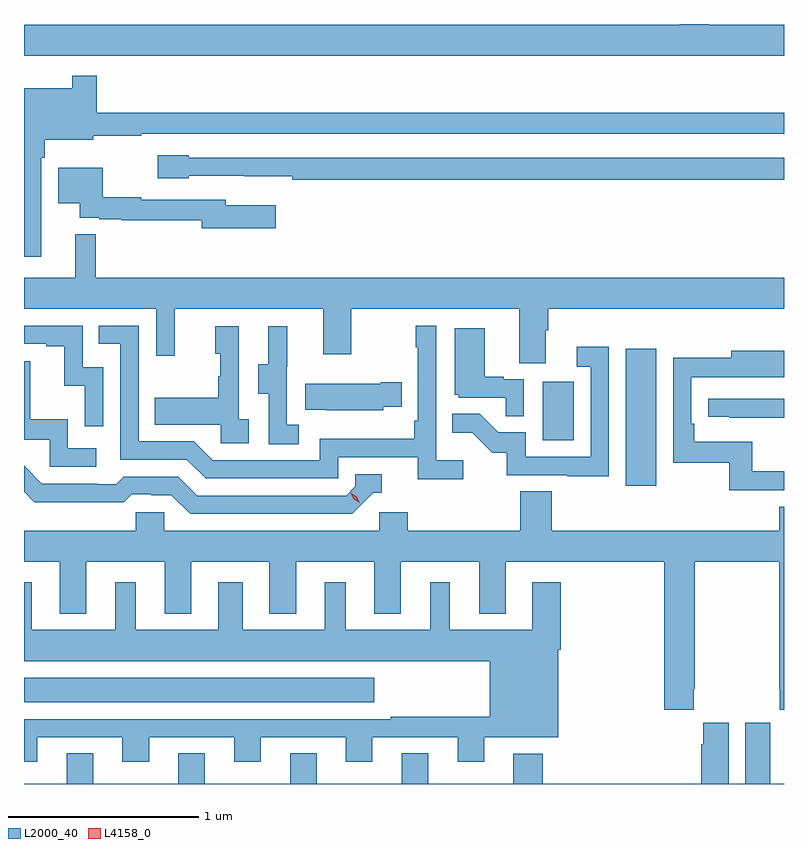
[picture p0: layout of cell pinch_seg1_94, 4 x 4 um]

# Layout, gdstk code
import gdstk
lib = gdstk.Library(unit=1e-6, precision=1e-09)
def R(c, l, rs):  # rectangles x0, y0, x1, y1
    for r in rs: c.add(gdstk.rectangle(r[:2], r[2:], *l))
def P(c, l, *ps):  # polygons
    for p in ps: c.add(gdstk.Polygon(p, *l))
L2000_40 = (2000, 40)
L4158_0 = (4158, 0)

pinch_seg1_94 = lib.new_cell('pinch_seg1_94')
R(pinch_seg1_94, L2000_40, [(1040.865,543.002,1042.708,543.13), (1044.032,544.14,1044.193,544.861), (1043.594,544.38,1043.758,544.687)])
P(pinch_seg1_94, L2000_40, [(1044.865,546.568),(1044.469,546.568),(1044.469,546.571),(1044.317,546.571),(1044.317,546.568),(1040.865,546.568),(1040.865,546.404),(1044.865,546.404)],
  [(1040.955,545.867),(1040.975,545.867),(1040.975,545.963),(1041.229,545.963),(1041.229,545.982),(1041.482,545.982),(1041.482,545.994),(1044.865,545.994),(1044.865,546.103),(1041.248,546.103),(1041.248,546.298),(1041.12,546.298),(1041.12,546.232),(1040.865,546.232),(1040.865,545.346),(1040.955,545.346)],
  [(1044.865,545.868),(1041.732,545.868),(1041.732,545.881),(1041.57,545.881),(1041.57,545.759),(1041.732,545.759),(1041.732,545.772),(1042.024,545.772),(1042.024,545.771),(1042.276,545.771),(1042.276,545.752),(1044.865,545.752)],
  [(1042.189,545.617),(1041.928,545.617),(1041.928,545.646),(1041.482,545.646),(1041.482,545.659),(1041.28,545.659),(1041.28,545.815),(1041.044,545.815),(1041.044,545.627),(1041.158,545.627),(1041.158,545.55),(1041.262,545.55),(1041.262,545.544),(1041.376,545.544),(1041.376,545.538),(1041.8,545.538),(1041.8,545.495),(1042.189,545.495)],
  [(1041.242,545.465),(1041.134,545.465),(1041.134,545.236),(1040.865,545.236),(1040.865,545.072),(1041.561,545.072),(1041.561,544.824),(1041.659,544.824),(1041.659,545.072),(1042.439,545.072),(1042.439,544.833),(1042.587,544.833),(1042.587,545.072),(1043.471,545.072),(1043.471,544.786),(1043.611,544.786),(1043.611,544.96),(1043.624,544.96),(1043.624,545.072),(1044.865,545.072),(1044.865,545.236),(1041.242,545.236)],
  [(1043.176,544.276),(1043.034,544.276),(1043.034,544.984),(1042.926,544.984),(1042.926,544.871),(1042.938,544.871),(1042.938,544.483),(1042.918,544.483),(1042.918,544.387),(1042.422,544.387),(1042.422,544.275),(1041.858,544.275),(1041.759,544.374),(1041.468,544.374),(1041.468,544.983),(1041.259,544.983),(1041.259,544.887),(1041.372,544.887),(1041.372,544.278),(1041.722,544.278),(1041.821,544.179),(1042.518,544.179),(1042.518,544.29),(1042.937,544.29),(1042.937,544.174),(1043.176,544.174)],
  [(1041.282,544.764),(1041.174,544.764),(1041.174,544.983),(1040.865,544.983),(1040.865,544.887),(1040.981,544.887),(1040.981,544.875),(1041.077,544.875),(1041.077,544.667),(1041.186,544.667),(1041.186,544.455),(1041.282,544.455)],
  [(1042.048,544.49),(1041.996,544.49),(1041.996,544.981),(1041.872,544.981),(1041.872,544.836),(1041.898,544.836),(1041.898,544.718),(1041.888,544.718),(1041.888,544.603),(1041.553,544.603),(1041.553,544.463),(1041.9,544.463),(1041.9,544.365),(1042.048,544.365)],
  [(1042.312,544.463),(1042.248,544.463),(1042.248,544.767),(1042.25,544.767),(1042.25,544.981),(1042.151,544.981),(1042.151,544.779),(1042.097,544.779),(1042.097,544.624),(1042.152,544.624),(1042.152,544.36),(1042.312,544.36)],
  [(1043.496,544.701),(1043.39,544.701),(1043.39,544.714),(1043.29,544.714),(1043.29,544.969),(1043.132,544.969),(1043.132,544.62),(1043.154,544.62),(1043.154,544.605),(1043.401,544.605),(1043.401,544.507),(1043.496,544.507)],
  [(1043.943,544.873),(1043.775,544.873),(1043.775,544.767),(1043.847,544.767),(1043.847,544.293),(1043.505,544.293),(1043.505,544.422),(1043.361,544.422),(1043.263,544.52),(1043.119,544.52),(1043.119,544.421),(1043.223,544.421),(1043.33,544.314),(1043.407,544.314),(1043.407,544.197),(1043.725,544.197),(1043.725,544.192),(1043.943,544.192)],
  [(1044.865,544.217),(1044.697,544.217),(1044.697,544.372),(1044.392,544.372),(1044.392,544.468),(1044.378,544.468),(1044.378,544.713),(1044.691,544.713),(1044.691,544.712),(1044.865,544.712),(1044.865,544.852),(1044.587,544.852),(1044.587,544.814),(1044.282,544.814),(1044.282,544.263),(1044.576,544.263),(1044.576,544.116),(1044.865,544.116)],
  [(1041.244,544.338),(1041.096,544.338),(1041.096,544.492),(1040.897,544.492),(1040.897,544.795),(1040.865,544.795),(1040.865,544.383),(1041,544.383),(1041,544.242),(1041.244,544.242)],
  [(1042.755,544.556),(1042.853,544.556),(1042.853,544.686),(1042.742,544.686),(1042.742,544.678),(1042.345,544.678),(1042.345,544.541),(1042.453,544.541),(1042.453,544.538),(1042.755,544.538)],
  [(1044.865,544.599),(1044.465,544.599),(1044.465,544.503),(1044.577,544.503),(1044.577,544.498),(1044.865,544.498)],
  [(1042.704,544.104),(1042.747,544.104),(1042.747,544.2),(1042.608,544.2),(1042.608,544.137),(1042.56,544.089),(1041.777,544.089),(1041.678,544.188),(1041.389,544.188),(1041.35,544.149),(1041.251,544.149),(1041.251,544.152),(1040.958,544.152),(1040.865,544.245),(1040.865,544.11),(1040.92,544.055),(1041.156,544.055),(1041.156,544.053),(1041.389,544.053),(1041.431,544.095),(1041.534,544.095),(1041.534,544.092),(1041.641,544.092),(1041.74,543.993),(1042.593,543.993)],
  [(1044.389,543.073),(1044.396,543.073),(1044.396,543.74),(1044.841,543.74),(1044.841,543.073),(1044.843,543.073),(1044.843,542.961),(1044.865,542.961),(1044.865,544.031),(1044.841,544.031),(1044.841,543.904),(1043.642,543.904),(1043.642,544.112),(1043.477,544.112),(1043.477,543.904),(1042.886,543.904),(1042.886,544.002),(1042.734,544.002),(1042.734,543.904),(1041.603,543.904),(1041.603,544.002),(1041.453,544.002),(1041.453,543.904),(1040.865,543.904),(1040.865,543.74),(1041.053,543.74),(1041.053,543.467),(1041.193,543.467),(1041.193,543.74),(1041.605,543.74),(1041.605,543.467),(1041.745,543.467),(1041.745,543.74),(1042.157,543.74),(1042.157,543.467),(1042.297,543.467),(1042.297,543.74),(1042.709,543.74),(1042.709,543.467),(1042.849,543.467),(1042.849,543.74),(1043.261,543.74),(1043.261,543.467),(1043.401,543.467),(1043.401,543.74),(1044.236,543.74),(1044.236,542.961),(1044.389,542.961)],
  [(1040.935,542.817),(1041.383,542.817),(1041.383,542.688),(1041.523,542.688),(1041.523,542.817),(1041.971,542.817),(1041.971,542.688),(1042.111,542.688),(1042.111,542.817),(1042.559,542.817),(1042.559,542.688),(1042.699,542.688),(1042.699,542.817),(1043.147,542.817),(1043.147,542.688),(1043.287,542.688),(1043.287,542.816),(1043.677,542.816),(1043.677,543.278),(1043.69,543.278),(1043.69,543.634),(1043.54,543.634),(1043.54,543.382),(1043.107,543.382),(1043.107,543.634),(1043.003,543.634),(1043.003,543.382),(1042.558,543.382),(1042.558,543.634),(1042.448,543.634),(1042.448,543.382),(1042.015,543.382),(1042.015,543.634),(1041.887,543.634),(1041.887,543.382),(1041.454,543.382),(1041.454,543.634),(1041.344,543.634),(1041.344,543.382),(1040.905,543.382),(1040.905,543.634),(1040.865,543.634),(1040.865,543.218),(1043.315,543.218),(1043.315,542.926),(1042.795,542.926),(1042.795,542.913),(1040.865,542.913),(1040.865,542.688),(1040.935,542.688)],
  [(1044.865,542.572),(1044.793,542.572),(1044.793,542.78),(1044.792,542.78),(1044.792,542.893),(1044.662,542.893),(1044.662,542.572),(1044.574,542.572),(1044.574,542.893),(1044.44,542.893),(1044.44,542.78),(1044.43,542.78),(1044.43,542.572),(1043.594,542.572),(1043.594,542.731),(1043.441,542.731),(1043.441,542.572),(1042.993,542.572),(1042.993,542.732),(1042.853,542.732),(1042.853,542.572),(1042.405,542.572),(1042.405,542.732),(1042.265,542.732),(1042.265,542.572),(1041.817,542.572),(1041.817,542.732),(1041.677,542.732),(1041.677,542.572),(1041.229,542.572),(1041.229,542.732),(1041.089,542.732),(1041.089,542.572),(1040.865,542.572),(1040.865,542.571),(1044.865,542.571)])
P(pinch_seg1_94, L4158_0, [(1042.631,544.051),(1042.6,544.07),(1042.584,544.103),(1042.584,544.103),(1042.584,544.103),(1042.615,544.084),(1042.631,544.052),(1042.631,544.051)])

lib.write_gds('pinch_seg1_94.gds')
